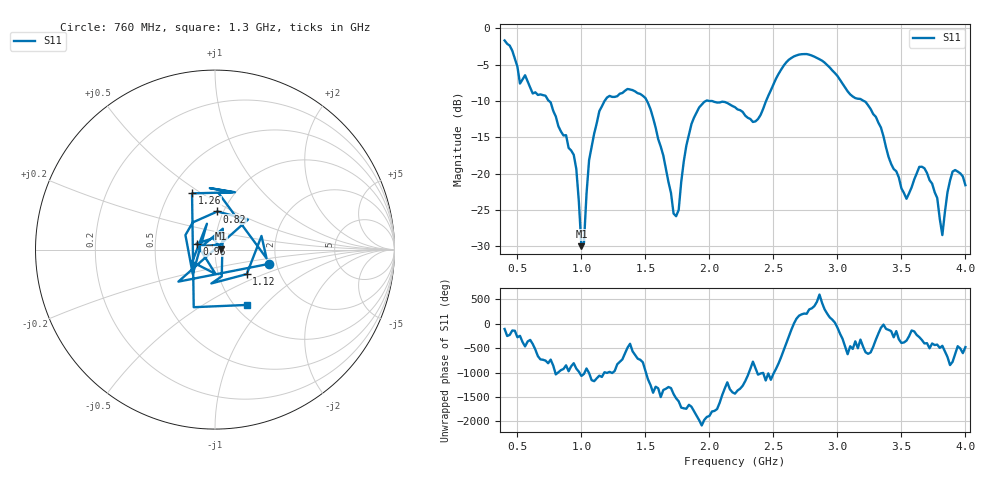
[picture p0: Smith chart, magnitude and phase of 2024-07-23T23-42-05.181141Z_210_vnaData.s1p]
!Created with skrf (http://scikit-rf.org).
# Hz S RI R 50.0
!freq ReS11 ImS11
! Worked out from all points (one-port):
!   181 points, 400 MHz to 4 GHz, reference 50 ohm
!   lowest |S11| = -30.0 dB at 1 GHz (marker M1), VSWR 1.07, Z = 53.2 + j0.618 ohm
!   |S11| at or under -10 dB: 748.7 MHz to 1.18 GHz (431.5 MHz wide, 44.7 % of centre); 1.513 GHz to 1.97 GHz (456.9 MHz wide, 26.2 % of centre); 3.209 GHz to end of sweep (the widest 3 of 4)
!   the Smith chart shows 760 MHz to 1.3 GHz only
!   S11 on the Smith chart (normalised r, x): 760 MHz: 1.82, -0.32; 820 MHz: 0.94, +0.42; 960 MHz: 0.81, +0.05; 1.12 GHz: 1.36, -0.39; 1.26 GHz: 0.65, +0.46; 1.3 GHz: 1.13, -0.80
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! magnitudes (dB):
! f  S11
! 400 MHz  -1.6
! 520 MHz  -7.6
! 760 MHz  -10.2
! 820 MHz  -13.4
! 860 MHz  -14.7
! 960 MHz  -19.3
! 1 GHz  -30.0
! 1.02 GHz  -29.5
! 1.06 GHz  -18.1
! 1.12 GHz  -13.0
! 1.26 GHz  -9.4
! 1.3 GHz  -9.0
! 1.52 GHz  -10.2
! 1.72 GHz  -25.5
! 1.76 GHz  -25.0
! 1.82 GHz  -16.1
! 1.92 GHz  -10.9
! 2.2 GHz  -10.8
! 2.36 GHz  -12.8
! 2.66 GHz  -3.8
! 3.1 GHz  -9.1
! 3.3 GHz  -12.1
! 3.56 GHz  -22.7
! 3.68 GHz  -19.2
! 3.78 GHz  -23.3
! 3.82 GHz  -28.4
! 3.9 GHz  -19.7
! 4 GHz  -21.6
